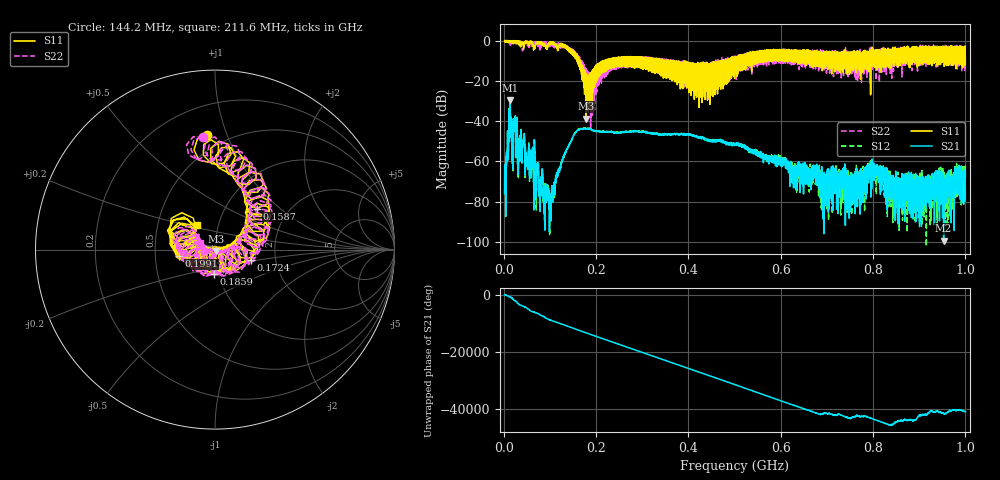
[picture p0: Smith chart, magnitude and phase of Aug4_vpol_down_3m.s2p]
!Keysight Technologies N9923A: A.12.45
!Date: Tuesday, 05 August 2025 20:20:19
!Timezone: (UTC+08:00) Kuala Lumpur, Singapore
!Model: N9923A
!Serial: MY61181427
!GPS Latitude:
!GPS Longitude:
!GPS TimeStamp: 0001-01-01 00:00:00Z
!GPS Seconds Since Last Read: 0
!CHECKSUM:0050337250
!Correction: S11(ON U)S21(ON U)S12(ON U)S22(ON U)
!S2P File: Measurements:S11,S21,S12,S22:
# Hz S DB R 50
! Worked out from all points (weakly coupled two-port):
!   4001 points, 2 MHz to 1 GHz, reference 50 ohm
!   highest |S21| = -29.39 dB at 13.98 MHz (marker M1); lowest = -99.4 dB at 952.8 MHz (marker M2)
!   lowest |S11| = -38.7 dB at 178.4 MHz (marker M3), VSWR 1.02, Z = 50.8 - j0.829 ohm
!   |S11| at or under -10 dB: 166.2 MHz to 215.5 MHz (49.37 MHz wide, 25.9 % of centre); 368.5 MHz to 470.5 MHz (102 MHz wide, 24.3 % of centre); 472.3 MHz to 475.5 MHz (3.165 MHz wide, 0.668 % of centre)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
!   |S22| runs from -43.9 to 0.1 dB; largest |S21 - S12| = 0.0012
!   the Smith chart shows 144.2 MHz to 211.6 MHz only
!   S11 on the Smith chart (normalised r, x): 144.2 MHz: 0.39, +0.85; 158.7 MHz: 1.40, +0.71; 172.4 MHz: 1.48, -0.19; 185.9 MHz: 0.95, -0.26; 199.1 MHz: 0.66, -0.05; 211.6 MHz: 0.79, +0.22
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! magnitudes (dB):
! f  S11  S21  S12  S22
! 2 MHz  -0.1  -75.6  -76.5  -0.1
! 13.98 MHz  -0.8  -29.4  -29.2  -1.7
! 100.8 MHz  -0.6  -82.9  -82.3  -1.1
! 144.2 MHz  -3.9  -50.6  -50.5  -4.0
! 158.7 MHz  -9.7  -44.7  -44.6  -9.2
! 168.4 MHz  -16.7  -43.9  -43.7  -13.4
! 172.4 MHz  -13.7  -43.9  -43.6  -12.8
! 178.4 MHz  -38.7  -43.7  -43.5  -19.8
! 185.9 MHz  -17.4  -43.9  -43.7  -16.4
! 199.1 MHz  -13.8  -45.0  -44.9  -14.8
! 211.6 MHz  -15.3  -45.4  -45.2  -21.1
! 334.8 MHz  -9.1  -46.6  -46.3  -10.6
! 419.7 MHz  -25.2  -47.6  -47.6  -19.5
! 501 MHz  -8.2  -51.8  -51.4  -8.8
! 667.4 MHz  -5.3  -64.2  -67.2  -7.5
! 693.1 MHz  -9.0  -67.3  -70.4  -6.2
! 751.5 MHz  -5.6  -70.4  -73.7  -12.2
! 802.6 MHz  -8.3  -69.4  -65.2  -5.0
! 833.8 MHz  -6.0  -66.4  -69.0  -13.1
! 849.1 MHz  -4.6  -64.8  -69.9  -11.4
! 952.8 MHz  -9.2  -99.4  -76.7  -2.8
! 1 GHz  -12.0  -78.5  -67.9  -3.9
